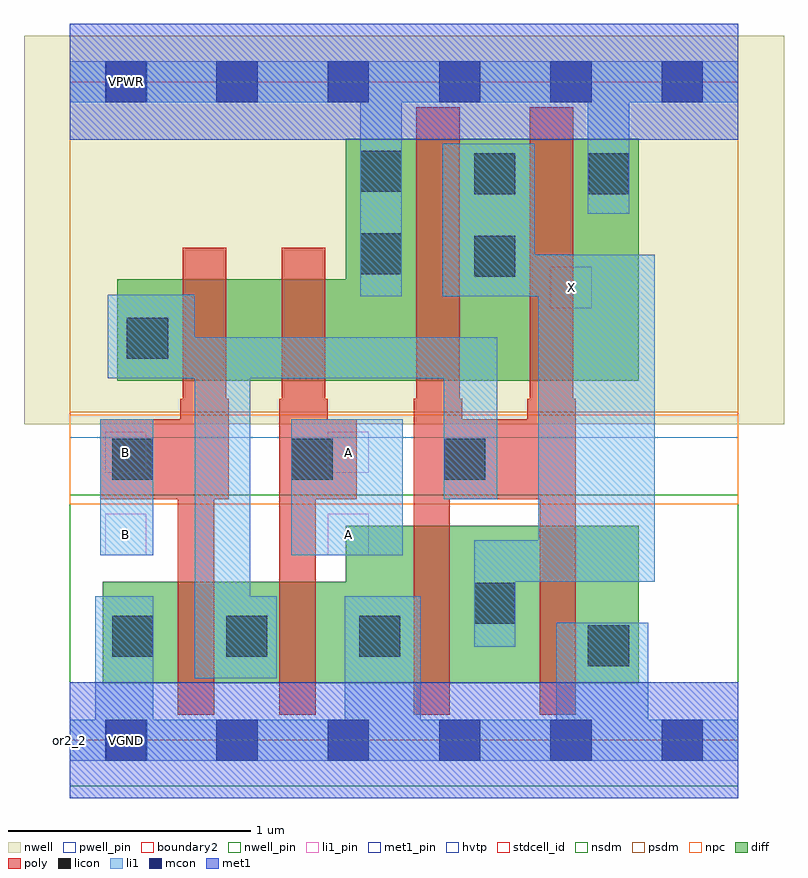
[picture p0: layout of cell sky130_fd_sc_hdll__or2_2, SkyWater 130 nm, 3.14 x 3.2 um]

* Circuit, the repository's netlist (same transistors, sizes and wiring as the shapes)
* Copyright 2020 The SkyWater PDK Authors
*
* Licensed under the Apache License, Version 2.0 (the "License");
* you may not use this file except in compliance with the License.
* You may obtain a copy of the License at
*
*     https://www.apache.org/licenses/LICENSE-2.0
*
* Unless required by applicable law or agreed to in writing, software
* distributed under the License is distributed on an "AS IS" BASIS,
* WITHOUT WARRANTIES OR CONDITIONS OF ANY KIND, either express or implied.
* See the License for the specific language governing permissions and
* limitations under the License.
*
* SPDX-License-Identifier: Apache-2.0

.SUBCKT sky130_fd_sc_hdll__or2_2 A B VGND VNB VPB VPWR X
*.PININFO A:I B:I VGND:I VNB:I VPB:I VPWR:I X:O
MMP0 VPWR A sndPA VPB sky130_fd_pr__pfet_01v8_hvt m=1 w=0.42U l=0.18U mult=1 sa=0.265
+ sb=0.265 sd=0.28 area=0.063 perim=1.14
MMP1 sndPA B y VPB sky130_fd_pr__pfet_01v8_hvt m=1 w=0.42U l=0.18U mult=1 sa=0.265
+ sb=0.265 sd=0.28 area=0.063 perim=1.14
MMIP2 X y VPWR VPB sky130_fd_pr__pfet_01v8_hvt m=2 w=1.0U l=0.18U mult=1 sa=0.265
+ sb=0.265 sd=0.28 area=0.063 perim=1.14
MMN0 y A VGND VNB sky130_fd_pr__nfet_01v8 m=1 w=0.42U l=0.15U mult=1 sa=0.265 sb=0.265
+ sd=0.28 area=0.063 perim=1.14
MMN1 y B VGND VNB sky130_fd_pr__nfet_01v8 m=1 w=0.42U l=0.15U mult=1 sa=0.265 sb=0.265
+ sd=0.28 area=0.063 perim=1.14
MMIN2 X y VGND VNB sky130_fd_pr__nfet_01v8 m=2 w=0.65U l=0.15U mult=1 sa=0.265
+ sb=0.265 sd=0.28 area=0.063 perim=1.14
.ENDS sky130_fd_sc_hdll__or2_2

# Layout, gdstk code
import gdstk
lib = gdstk.Library(unit=1e-6, precision=1e-09)
def R(c, l, rs):  # rectangles x0, y0, x1, y1
    for r in rs: c.add(gdstk.rectangle(r[:2], r[2:], *l))
def A(c, l, x, y, w, h, nx, ny, dx, dy):  # array of equal rectangles
    R(c, l, [(x+i*dx, y+j*dy, x+i*dx+w, y+j*dy+h) for i in range(nx) for j in range(ny)])
def P(c, l, *ps):  # polygons
    for p in ps: c.add(gdstk.Polygon(p, *l))
nwell_pin = (64, 16)
nwell = (64, 20)
diff = (65, 20)
poly = (66, 20)
licon = (66, 44)
li1_pin = (67, 16)
li1 = (67, 20)
mcon = (67, 44)
met1_pin = (68, 16)
met1 = (68, 20)
hvtp = (78, 44)
stdcell_id = (81, 4)
nsdm = (93, 44)
psdm = (94, 20)
npc = (95, 20)
pwell_pin = (122, 16)
boundary2 = (236, 0)

sky130_fd_sc_hdll__or2_2 = lib.new_cell('sky130_fd_sc_hdll__or2_2')
R(sky130_fd_sc_hdll__or2_2, nwell_pin, [(0.15,2.635,0.32,2.805)])
R(sky130_fd_sc_hdll__or2_2, nwell, [(-0.19,1.305,2.95,2.91)])
P(sky130_fd_sc_hdll__or2_2, diff, [(2.35,0.885),(1.14,0.885),(1.14,0.655),(0.135,0.655),(0.135,0.235),(2.35,0.235)],
  [(2.35,2.485),(1.14,2.485),(1.14,1.905),(0.195,1.905),(0.195,1.485),(2.35,1.485)])
P(sky130_fd_sc_hdll__or2_2, poly, [(0.655,1.41),(0.645,1.41),(0.645,2.035),(0.465,2.035),(0.465,1.41),(0.455,1.41),(0.455,1.325),(0.125,1.325),(0.125,0.995),(0.445,0.995),(0.445,0.105),(0.595,0.105),(0.595,0.995),(0.655,0.995)],
  [(1.185,1.325),(1.065,1.325),(1.065,1.41),(1.055,1.41),(1.055,2.035),(0.875,2.035),(0.875,1.41),(0.865,1.41),(0.865,0.105),(1.015,0.105),(1.015,0.995),(1.185,0.995)],
  [(2.09,1.41),(2.08,1.41),(2.08,2.615),(1.9,2.615),(1.9,1.41),(1.89,1.41),(1.89,1.325),(1.62,1.325),(1.62,1.41),(1.61,1.41),(1.61,2.615),(1.43,2.615),(1.43,1.41),(1.42,1.41),(1.42,0.105),(1.57,0.105),(1.57,0.995),(1.94,0.995),(1.94,0.105),(2.09,0.105)])
R(sky130_fd_sc_hdll__or2_2, licon, [(2.14,0.305,2.31,0.475), (0.175,0.345,0.345,0.515), (0.645,0.345,0.815,0.515), (1.195,0.345,1.365,0.515), (1.67,0.48,1.84,0.65), (0.175,1.075,0.345,1.245), (0.915,1.075,1.085,1.245), (1.545,1.075,1.715,1.245), (0.235,1.575,0.405,1.745), (1.67,1.915,1.84,2.085), (1.2,1.925,1.37,2.095), (1.67,2.255,1.84,2.425), (2.14,2.255,2.31,2.425), (1.2,2.265,1.37,2.435)])
R(sky130_fd_sc_hdll__or2_2, li1_pin, [(0.145,0.765,0.315,0.935), (1.065,0.765,1.235,0.935), (0.145,1.105,0.315,1.275), (1.065,1.105,1.235,1.275), (1.985,1.785,2.155,1.955)])
R(sky130_fd_sc_hdll__or2_2, li1, [(0.125,0.765,0.345,1.325), (0.915,0.765,1.375,1.325)])
P(sky130_fd_sc_hdll__or2_2, li1, [(2.76,0.085),(2.39,0.085),(2.39,0.485),(2.01,0.485),(2.01,0.085),(1.45,0.085),(1.45,0.595),(1.135,0.595),(1.135,0.085),(0.345,0.085),(0.345,0.595),(0.105,0.595),(0.105,0.085),(0,0.085),(0,-0.085),(2.76,-0.085)],
  [(2.76,2.805),(0,2.805),(0,2.635),(1.2,2.635),(1.2,1.835),(1.37,1.835),(1.37,2.635),(2.14,2.635),(2.14,2.175),(2.31,2.175),(2.31,2.635),(2.76,2.635)],
  [(2.415,2.005),(1.92,2.005),(1.92,2.465),(1.54,2.465),(1.54,1.835),(1.935,1.835),(1.935,0.825),(1.67,0.825),(1.67,0.385),(1.84,0.385),(1.84,0.655),(2.415,0.655)],
  [(1.765,1.665),(0.515,1.665),(0.515,1.84),(0.155,1.84),(0.155,1.495),(0.515,1.495),(0.515,0.255),(0.855,0.255),(0.855,0.595),(0.745,0.595),(0.745,1.495),(1.545,1.495),(1.545,0.995),(1.765,0.995)])
A(sky130_fd_sc_hdll__or2_2, mcon, 0.145, -0.085, 0.17, 0.17, 6, 2, 0.46, 2.72)
R(sky130_fd_sc_hdll__or2_2, met1_pin, [(0.15,-0.085,0.32,0.085), (0.15,2.635,0.32,2.805)])
R(sky130_fd_sc_hdll__or2_2, met1, [(0,-0.24,2.76,0.24), (0,2.48,2.76,2.96)])
R(sky130_fd_sc_hdll__or2_2, hvtp, [(0,1.25,2.76,2.72)])
R(sky130_fd_sc_hdll__or2_2, stdcell_id, [(0,0,2.76,2.72)])
R(sky130_fd_sc_hdll__or2_2, nsdm, [(0,-0.19,2.76,1.015)])
R(sky130_fd_sc_hdll__or2_2, psdm, [(0,1.355,2.76,2.91)])
R(sky130_fd_sc_hdll__or2_2, npc, [(0,0.975,2.76,1.345)])
R(sky130_fd_sc_hdll__or2_2, pwell_pin, [(0.15,-0.085,0.32,0.085)])
R(sky130_fd_sc_hdll__or2_2, boundary2, [(0,0,2.76,2.72)])
sky130_fd_sc_hdll__or2_2.add(gdstk.Label('B', (0.23,1.19), layer=67, texttype=5))
sky130_fd_sc_hdll__or2_2.add(gdstk.Label('X', (2.07,1.87), layer=67, texttype=5))
sky130_fd_sc_hdll__or2_2.add(gdstk.Label('A', (1.15,1.19), layer=67, texttype=5))
sky130_fd_sc_hdll__or2_2.add(gdstk.Label('A', (1.15,0.85), layer=67, texttype=5))
sky130_fd_sc_hdll__or2_2.add(gdstk.Label('B', (0.23,0.85), layer=67, texttype=5))
sky130_fd_sc_hdll__or2_2.add(gdstk.Label('VPWR', (0.235,2.72), layer=68, texttype=5))
sky130_fd_sc_hdll__or2_2.add(gdstk.Label('VGND', (0.235,0), layer=68, texttype=5))
sky130_fd_sc_hdll__or2_2.add(gdstk.Label('VPB', (0.235,2.72), layer=64, texttype=5))
sky130_fd_sc_hdll__or2_2.add(gdstk.Label('VNB', (0.235,0), layer=64, texttype=59))
sky130_fd_sc_hdll__or2_2.add(gdstk.Label('or2_2', (0,0), layer=83, texttype=44))

lib.write_gds('sky130_fd_sc_hdll__or2_2.gds')
